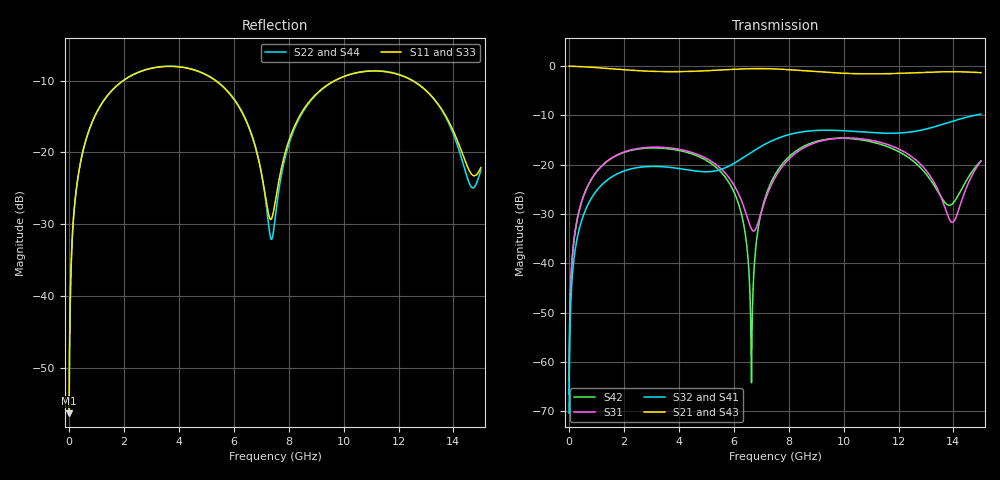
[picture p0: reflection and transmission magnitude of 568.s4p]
! Created with skrf 1.8.0 (http://scikit-rf.org).
# GHz S RI R 50.0
!freq ReS11 ImS11 ReS12 ImS12 ReS13 ImS13
! ReS14 ImS14
! ReS21 ImS21 ReS22 ImS22 ReS23 ImS23
! ReS24 ImS24
! ReS31 ImS31 ReS32 ImS32 ReS33 ImS33
! ReS34 ImS34
! ReS41 ImS41 ReS42 ImS42 ReS43 ImS43
! ReS44 ImS44
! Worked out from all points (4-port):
!   2499 points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, 5 MHz to 15 GHz, reference 50 ohm
!   strongest paths, dB at 5 MHz, 3.476 GHz, 7.19 GHz, 11.1 GHz, 15 GHz:
!     S21: 0.0, -1.1, -0.5, -1.6, -1.3
!     S43: 0.0, -1.1, -0.5, -1.6, -1.3
!     S32: -70.5, -20.4, -15.7, -13.5, -9.7
!     S41: -70.5, -20.5, -15.7, -13.6, -9.7
!     S31: -66.6, -16.5, -26.5, -15.2, -19.3
!     S42: -66.6, -16.7, -25.9, -15.5, -19.2
!   lowest |S11| = -56.3 dB at 5 MHz (marker M1), VSWR 1.00, Z = 50.1 + j0.0936 ohm
!   |S11| at or under -10 dB: start of sweep to 1.982 GHz; 5.331 GHz to 9.684 GHz (4.353 GHz wide, 58 % of centre); 12.5 GHz to end of sweep
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0.005  0.00122 0.000934  0.9988 -0.00239  5.97e-05 0.000466  -5.81e-05 -0.000294
       0.9988 -0.00239  0.00122 0.000934  -5.81e-05 -0.000294  5.97e-05 0.000466
       5.97e-05 0.000466  -5.81e-05 -0.000294  0.00122 0.000934  0.9988 -0.00239
       -5.81e-05 -0.000294  5.97e-05 0.000466  0.9988 -0.00239  0.00122 0.000934
0.4126719  0.0223 0.0807  0.9692 -0.1952  0.0103 0.0365  -0.00847 -0.0229
           0.9692 -0.1952  0.0223 0.0807  -0.00847 -0.0229  0.01 0.0366
           0.0103 0.0365  -0.00847 -0.0229  0.0223 0.0807  0.9692 -0.1952
           -0.00847 -0.0229  0.01 0.0366  0.9692 -0.1952  0.0223 0.0807
2.025844  0.2616 0.185  0.5676 -0.7214  0.122 0.058  -0.0862 -0.00919
          0.5676 -0.7214  0.2631 0.184  -0.0862 -0.00912  0.1178 0.0634
          0.122 0.058  -0.0862 -0.00912  0.2616 0.1851  0.5676 -0.7214
          -0.0862 -0.00919  0.1178 0.0634  0.5676 -0.7214  0.2631 0.184
5.671113  0.2077 -0.1856  -0.6312 -0.667  0.0325 -0.0766  -0.0474 0.0792
          -0.6312 -0.667  0.2035 -0.1934  -0.0468 0.0797  0.0487 -0.0581
          0.0325 -0.0766  -0.0468 0.0797  0.2073 -0.1855  -0.6314 -0.667
          -0.0474 0.0792  0.0487 -0.0581  -0.6314 -0.667  0.2035 -0.1932
6.640267  0.0688 -0.1148  -0.8732 -0.3533  -0.0199 -0.0105  -0.0464 0.125
          -0.8732 -0.3533  0.0613 -0.1214  -0.0454 0.1254  0.00066 -0.000271
          -0.0199 -0.0105  -0.0454 0.1254  0.0682 -0.1145  -0.8734 -0.353
          -0.0464 0.125  0.00066 -0.000271  -0.8734 -0.353  0.0616 -0.1208
7.340559  0.0341 -0.00313  -0.9377 -0.059  -0.00624 0.0596  -0.00699 0.1719
          -0.9377 -0.059  0.0246 -0.00736  -0.00572 0.172  0.0123 0.0633
          -0.00624 0.0596  -0.00572 0.172  0.0333 -0.00244  -0.9377 -0.0585
          -0.00699 0.1719  0.0123 0.0633  -0.9377 -0.0585  0.0253 -0.00647
15  0.0746 0.024  0.8582 0.0154  0.0436 0.0994  -0.00549 -0.3257
    0.8582 0.0154  0.0649 0.0382  -0.011 -0.3254  0.00393 0.1092
    0.0436 0.0994  -0.011 -0.3254  0.0767 0.0242  0.858 0.015
    -0.00549 -0.3257  0.00393 0.1092  0.858 0.015  0.0632 0.0394
